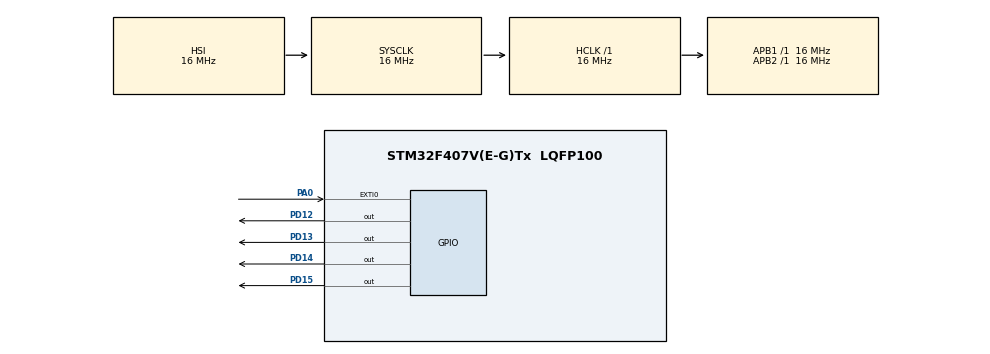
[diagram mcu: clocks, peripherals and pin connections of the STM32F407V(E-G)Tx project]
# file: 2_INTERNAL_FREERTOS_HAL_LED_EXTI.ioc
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FREERTOS.Tasks01=Led,2,128,LedFlashTask,Default,NULL,Dynamic,NULL,NULL
Mcu.Family=STM32F4
Mcu.Name=STM32F407V(E-G)Tx
Mcu.Package=LQFP100
NVIC.EXTI0_IRQn=true\:5\:0\:false\:false\:true\:true\:true\:true\:true
NVIC.PriorityGroup=NVIC_PRIORITYGROUP_4
PA0-WKUP.Signal=GPXTI0
PD12.Signal=GPIO_Output
PD13.Signal=GPIO_Output
PD14.Signal=GPIO_Output
PD15.Signal=GPIO_Output
ProjectManager.HeapSize=0x200
ProjectManager.StackSize=0x400
ProjectManager.TargetToolchain=STM32CubeIDE
RCC.AHBFreq_Value=16000000
RCC.APB1Freq_Value=16000000
RCC.APB2Freq_Value=16000000
RCC.CortexFreq_Value=16000000
RCC.HSE_VALUE=25000000
RCC.HSI_VALUE=16000000
RCC.LSE_VALUE=32768
RCC.SYSCLKFreq_VALUE=16000000
RCC.VCOOutputFreq_Value=192000000
VP_FREERTOS_VS_CMSIS_V1.Mode=CMSIS_V1
board=custom

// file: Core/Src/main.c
/* USER CODE BEGIN Header */
/**
  ******************************************************************************
  * @file           : main.c
  * @brief          : Main program body
  ******************************************************************************
  * @attention
  *
  * Copyright (c) 2022 STMicroelectronics.
  * All rights reserved.
  *
  * This software is licensed under terms that can be found in the LICENSE file
  * in the root directory of this software component.
  * If no LICENSE file comes with this software, it is provided AS-IS.
  *
  ******************************************************************************
  */
/* USER CODE END Header */
#include "main.h"
#include "cmsis_os.h"

 osThreadId LedHandle;
/* USER CODE BEGIN PV */
uint8_t ButtonCount=0;
/* USER CODE END PV */

void SystemClock_Config(void);
static void MX_GPIO_Init(void);
void LedFlashTask(void const * argument);

int main(void)
{

  /* MCU Configuration--------------------------------------------------------*/

  /* Reset of all peripherals, Initializes the Flash interface and the Systick. */
  HAL_Init();

  /* Configure the system clock */
  SystemClock_Config();

  /* Initialize all configured peripherals */
  MX_GPIO_Init();

  /* Create the thread(s) */
  /* definition and creation of Led */
  osThreadDef(Led, LedFlashTask, osPriorityHigh, 0, 128);
  LedHandle = osThreadCreate(osThread(Led), NULL);

  /* Start scheduler */
  osKernelStart();

  /* We should never get here as control is now taken by the scheduler */
  /* Infinite loop */
  while (1)
  {

  }
}

void SystemClock_Config(void)
{
  RCC_OscInitTypeDef RCC_OscInitStruct = {0};
  RCC_ClkInitTypeDef RCC_ClkInitStruct = {0};

  /** Configure the main internal regulator output voltage
  */
  __HAL_RCC_PWR_CLK_ENABLE();
  __HAL_PWR_VOLTAGESCALING_CONFIG(PWR_REGULATOR_VOLTAGE_SCALE1);

  /** Initializes the RCC Oscillators according to the specified parameters
  * in the RCC_OscInitTypeDef structure.
  */
  RCC_OscInitStruct.OscillatorType = RCC_OSCILLATORTYPE_HSI;
  RCC_OscInitStruct.HSIState = RCC_HSI_ON;
  RCC_OscInitStruct.HSICalibrationValue = RCC_HSICALIBRATION_DEFAULT;
  RCC_OscInitStruct.PLL.PLLState = RCC_PLL_NONE;
  if (HAL_RCC_OscConfig(&RCC_OscInitStruct) != HAL_OK)
  {
    Error_Handler();
  }

  /** Initializes the CPU, AHB and APB buses clocks
  */
  RCC_ClkInitStruct.ClockType = RCC_CLOCKTYPE_HCLK|RCC_CLOCKTYPE_SYSCLK
                              |RCC_CLOCKTYPE_PCLK1|RCC_CLOCKTYPE_PCLK2;
  RCC_ClkInitStruct.SYSCLKSource = RCC_SYSCLKSOURCE_HSI;
  RCC_ClkInitStruct.AHBCLKDivider = RCC_SYSCLK_DIV1;
  RCC_ClkInitStruct.APB1CLKDivider = RCC_HCLK_DIV1;
  RCC_ClkInitStruct.APB2CLKDivider = RCC_HCLK_DIV1;

  if (HAL_RCC_ClockConfig(&RCC_ClkInitStruct, FLASH_LATENCY_0) != HAL_OK)
  {
    Error_Handler();
  }
}

static void MX_GPIO_Init(void)
{
  GPIO_InitTypeDef GPIO_InitStruct = {0};

  /* GPIO Ports Clock Enable */
  __HAL_RCC_GPIOA_CLK_ENABLE();
  __HAL_RCC_GPIOD_CLK_ENABLE();

  /*Configure GPIO pin Output Level */
  HAL_GPIO_WritePin(GPIOD, GPIO_PIN_12|GPIO_PIN_13|GPIO_PIN_14|GPIO_PIN_15, GPIO_PIN_RESET);

  /*Configure GPIO pin : PA0 */
  GPIO_InitStruct.Pin = GPIO_PIN_0;
  GPIO_InitStruct.Mode = GPIO_MODE_IT_RISING;
  GPIO_InitStruct.Pull = GPIO_NOPULL;
  HAL_GPIO_Init(GPIOA, &GPIO_InitStruct);

  /*Configure GPIO pins : PD12 PD13 PD14 PD15 */
  GPIO_InitStruct.Pin = GPIO_PIN_12|GPIO_PIN_13|GPIO_PIN_14|GPIO_PIN_15;
  GPIO_InitStruct.Mode = GPIO_MODE_OUTPUT_PP;
  GPIO_InitStruct.Pull = GPIO_NOPULL;
  GPIO_InitStruct.Speed = GPIO_SPEED_FREQ_LOW;
  HAL_GPIO_Init(GPIOD, &GPIO_InitStruct);

  /* EXTI interrupt init*/
  HAL_NVIC_SetPriority(EXTI0_IRQn, 5, 0);
  HAL_NVIC_EnableIRQ(EXTI0_IRQn);

}

void LedFlashTask(void const * argument)
{
  /* USER CODE BEGIN 5 */
  /* Infinite loop */
  for(;;)
  {
	  if(ButtonCount==0)
	  		  {
	  			  HAL_GPIO_WritePin(GPIOD, GPIO_PIN_12|GPIO_PIN_13|GPIO_PIN_14|GPIO_PIN_15,GPIO_PIN_RESET);
	  		  }
	  		  else if (ButtonCount==1)
	  		  {
	  			  HAL_GPIO_TogglePin(GPIOD, GPIO_PIN_12|GPIO_PIN_13|GPIO_PIN_14|GPIO_PIN_15);
	  			  osDelay(1000);
	  		  }
	  		  else if (ButtonCount==2)
	  		  {
	  			  HAL_GPIO_TogglePin(GPIOD, GPIO_PIN_12|GPIO_PIN_13|GPIO_PIN_14|GPIO_PIN_15);
	  			  osDelay(750);
	  		  }
	  		  else if (ButtonCount==3)
	  		  {
	  			  HAL_GPIO_TogglePin(GPIOD, GPIO_PIN_12|GPIO_PIN_13|GPIO_PIN_14|GPIO_PIN_15);
	  			  osDelay(500);
	  		  }
	  		  else if (ButtonCount==4)
	  		  {
	  			  HAL_GPIO_TogglePin(GPIOD, GPIO_PIN_12|GPIO_PIN_13|GPIO_PIN_14|GPIO_PIN_15);
	  			  osDelay(250);
	  		  }
  }
  /* USER CODE END 5 */
}

void Error_Handler(void)
{
  __disable_irq();
  while (1)
  {
  }
}
